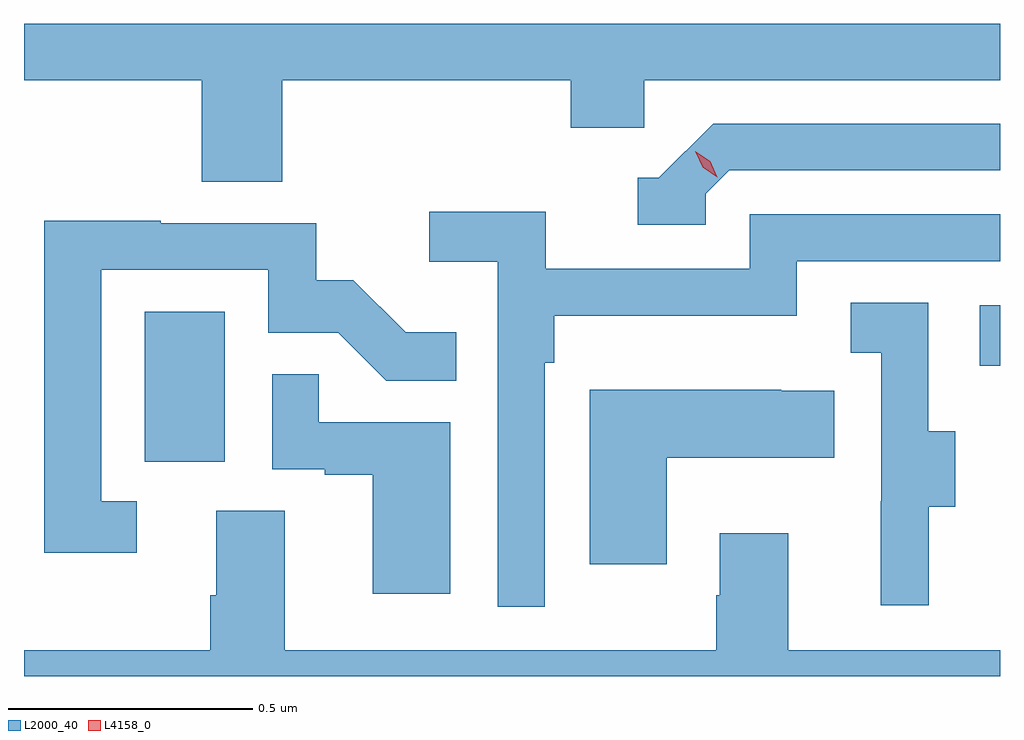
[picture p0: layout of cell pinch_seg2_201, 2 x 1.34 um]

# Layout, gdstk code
import gdstk
lib = gdstk.Library(unit=1e-6, precision=1e-09)
def R(c, l, rs):  # rectangles x0, y0, x1, y1
    for r in rs: c.add(gdstk.rectangle(r[:2], r[2:], *l))
def P(c, l, *ps):  # polygons
    for p in ps: c.add(gdstk.Polygon(p, *l))
L2000_40 = (2000, 40)
L4158_0 = (4158, 0)

pinch_seg2_201 = lib.new_cell('pinch_seg2_201')
R(pinch_seg2_201, L2000_40, [(1001.594,665.502,1001.758,665.809), (1003.305,665.699,1003.347,665.823)])
P(pinch_seg2_201, L2000_40, [(1001.876,666.284),(1002.467,666.284),(1002.467,666.186),(1002.618,666.186),(1002.618,666.284),(1003.347,666.284),(1003.347,666.4),(1001.347,666.4),(1001.347,666.284),(1001.711,666.284),(1001.711,666.076),(1001.876,666.076)],
  [(1002.744,666.051),(1002.792,666.099),(1003.347,666.099),(1003.347,666.195),(1002.759,666.195),(1002.648,666.084),(1002.605,666.084),(1002.605,665.988),(1002.744,665.988)],
  [(1002.414,665.705),(1002.434,665.705),(1002.434,665.801),(1002.93,665.801),(1002.93,665.913),(1003.347,665.913),(1003.347,666.009),(1002.834,666.009),(1002.834,665.898),(1002.416,665.898),(1002.416,666.014),(1002.177,666.014),(1002.177,665.912),(1002.318,665.912),(1002.318,665.205),(1002.414,665.205)],
  [(1001.578,665.421),(1001.505,665.421),(1001.505,665.895),(1001.847,665.895),(1001.847,665.766),(1001.991,665.766),(1002.089,665.668),(1002.233,665.668),(1002.233,665.767),(1002.129,665.767),(1002.022,665.874),(1001.946,665.874),(1001.946,665.991),(1001.627,665.991),(1001.627,665.996),(1001.389,665.996),(1001.389,665.316),(1001.578,665.316)],
  [(1003.201,665.41),(1003.255,665.41),(1003.255,665.565),(1003.2,665.565),(1003.2,665.828),(1003.041,665.828),(1003.041,665.725),(1003.104,665.725),(1003.104,665.421),(1003.103,665.421),(1003.103,665.208),(1003.201,665.208)],
  [(1002.22,665.583),(1001.951,665.583),(1001.951,665.681),(1001.856,665.681),(1001.856,665.487),(1001.963,665.487),(1001.963,665.475),(1002.062,665.475),(1002.062,665.232),(1002.22,665.232)],
  [(1002.664,665.51),(1003.007,665.51),(1003.007,665.647),(1002.899,665.647),(1002.899,665.65),(1002.506,665.65),(1002.506,665.292),(1002.664,665.292)],
  [(1003.347,665.116),(1002.913,665.116),(1002.913,665.356),(1002.773,665.356),(1002.773,665.228),(1002.766,665.228),(1002.766,665.116),(1001.881,665.116),(1001.881,665.402),(1001.741,665.402),(1001.741,665.228),(1001.729,665.228),(1001.729,665.116),(1001.347,665.116),(1001.347,665.062),(1003.347,665.062)])
P(pinch_seg2_201, L4158_0, [(1002.768,666.085),(1002.738,666.105),(1002.722,666.138),(1002.722,666.138),(1002.722,666.138),(1002.753,666.118),(1002.768,666.085),(1002.768,666.085)])

lib.write_gds('pinch_seg2_201.gds')
